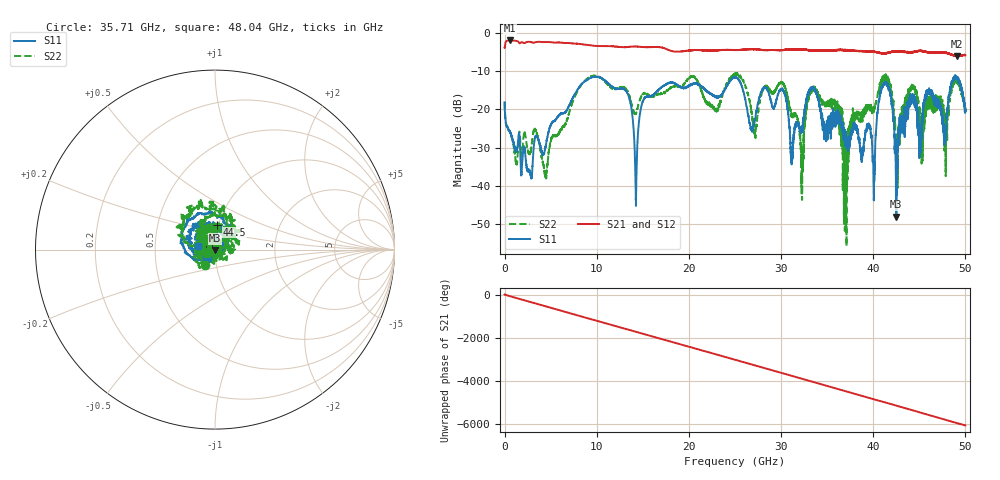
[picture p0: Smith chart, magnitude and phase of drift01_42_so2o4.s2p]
!Created with skrf (http://scikit-rf.org).
# Hz S RI R 50.0
!freq ReS11 ImS11 ReS21 ImS21 ReS12 ImS12 ReS22 ImS22
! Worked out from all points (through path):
!   10001 points, 300 kHz to 50 GHz, reference 50 ohm
!   highest |S21| = -2.00 dB at 555.3 MHz (marker M1); lowest = -6.1 dB at 49.05 GHz (marker M2)
!   group delay of S21, straight-line fit = 336 ps
!   lowest |S11| = -48.1 dB at 42.51 GHz (marker M3), VSWR 1.01, Z = 50 - j0.393 ohm
!   |S11| at or under -10 dB: start of sweep to end of sweep
!   |S22| runs from -55.8 to -10.6 dB; largest |S21 - S12| = 0.021
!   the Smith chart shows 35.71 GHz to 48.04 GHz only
!   S11 on the Smith chart (normalised r, x): 35.71 GHz: 0.91, -0.08; 44.5 GHz: 0.99, +0.28; 48.04 GHz: 0.82, +0.04
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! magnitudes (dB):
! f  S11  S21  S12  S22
! 300 kHz  -18.2  -4.0  -4.1  -18.0
! 555.3 MHz  -25.9  -2.0  -2.0  -25.9
! 4.435 GHz  -30.0  -2.4  -2.4  -37.1
! 8.335 GHz  -13.5  -3.0  -3.0  -13.5
! 13.17 GHz  -15.1  -3.7  -3.7  -14.6
! 14.25 GHz  -45.3  -3.6  -3.6  -21.1
! 16.67 GHz  -14.9  -3.7  -3.7  -15.8
! 25 GHz  -11.6  -4.5  -4.6  -11.0
! 27.15 GHz  -22.5  -4.3  -4.3  -25.8
! 30.2 GHz  -15.1  -4.5  -4.5  -13.3
! 31.14 GHz  -32.8  -4.3  -4.3  -21.3
! 32.25 GHz  -25.0  -4.4  -4.3  -37.7
! 33.34 GHz  -14.3  -4.7  -4.6  -14.4
! 35.71 GHz  -24.1  -4.5  -4.6  -19.8
! 37.03 GHz  -27.0  -4.5  -4.6  -34.7
! 40.06 GHz  -43.2  -4.9  -5.0  -20.4
! 41.67 GHz  -14.3  -5.1  -5.2  -12.7
! 42.51 GHz  -48.1  -4.9  -4.9  -27.5
! 44.5 GHz  -17.1  -5.0  -4.9  -14.3
! 48.04 GHz  -20.1  -5.3  -5.3  -25.7
! 49.05 GHz  -11.5  -6.1  -6.1  -12.4
! 50 GHz  -20.3  -5.8  -5.8  -19.6
